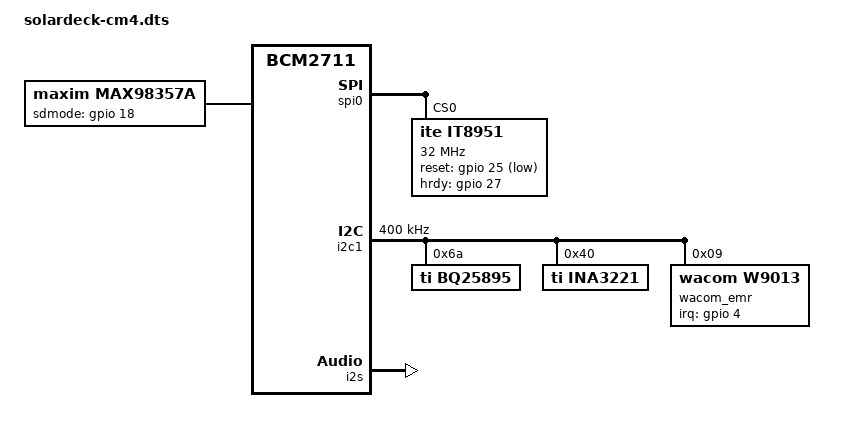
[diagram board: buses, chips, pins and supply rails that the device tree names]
// SPDX-License-Identifier: GPL-2.0-or-later OR MIT
/*
 * Device Tree Overlay for SolarDeck Carrier Board on Raspberry Pi CM4
 * Written 2026-10-19 UTC in the Pi harness by antigravity/gemini-3.8-flash
 *
 * Configures:
 *  - ITE IT8951 E-Ink EPDC on SPI0 (32 MHz, HRDY, RESET)
 *  - TI BQ25895 5A LiFePO4 PMIC on I2C1 (0x6A)
 *  - TI INA3221 3-Channel System Power Ammeter on I2C1 (0x40)
 *  - Wacom EMR Digitizer on I2C1 (0x09)
 *  - MAX98357A I2S Class-D Audio Amplifier on I2S
 *  - RP2350 GPIO Wake Interrupt (GPIO 17) & Airgap Sense (GPIO 22)
 *  - Peripheral Power Load Switches (GPIO 23, 24)
 */

/dts-v1/;
/plugin/;

/ {
    compatible = "brcm,bcm2711", "raspberrypi,4-compute-module";

    /* Fragment 0: GPIO Pin Assignments */
    fragment@0 {
        target = <&gpio>;
        __overlay__ {
            solardeck_gpios: solardeck_gpio_pins {
                brcm,pins = <17 22 23 24 27>;
                brcm,function = <0 0 1 1 0>; /* 17:in (wake), 22:in (airgap), 23:out (pwr), 24:out (rf), 27:in (it8951 hrdy) */
                brcm,pull = <2 2 0 0 2>;     /* Pull-ups on inputs */
            };
        };
    };

    /* Fragment 1: ITE IT8951 EPDC Display Controller on SPI0 */
    fragment@1 {
        target = <&spi0>;
        __overlay__ {
            status = "okay";
            #address-cells = <1>;
            #size-cells = <0>;

            it8951: it8951@0 {
                compatible = "ite,it8951";
                reg = <0>;
                spi-max-frequency = <32000000>;
                reset-gpios = <&gpio 25 1>;    /* GPIO 25: Active-low reset */
                hrdy-gpios = <&gpio 27 0>;     /* GPIO 27: Active-high ready */
                status = "okay";
            };
        };
    };

    /* Fragment 2: I2C1 Peripherals (PMIC, Fuel Gauge, Ammeter, Digitizer) */
    fragment@2 {
        target = <&i2c1>;
        __overlay__ {
            status = "okay";
            clock-frequency = <400000>;
            #address-cells = <1>;
            #size-cells = <0>;

            /* Texas Instruments BQ25895 5A Fast Charger */
            bq25895: charger@6a {
                compatible = "ti,bq25895";
                reg = <0x6a>;
                ti,battery-regulation-voltage = <3650000>; /* 3.65V strict LiFePO4 cutoff */
                ti,charge-current = <3000000>;             /* 3.0A max charge current */
                ti,termination-current = <200000>;         /* 200mA termination */
                status = "okay";
            };

            /* Texas Instruments INA3221 3-Channel Power Monitor */
            ina3221: power-monitor@40 {
                compatible = "ti,ina3221";
                reg = <0x40>;
                #address-cells = <1>;
                #size-cells = <0>;

                channel@0 {
                    reg = <0>;
                    ti,shunt-micro-ohms = <10000>; /* 10 mOhm: Compute Rail */
                    label = "Compute_Core";
                };

                channel@1 {
                    reg = <1>;
                    ti,shunt-micro-ohms = <10000>; /* 10 mOhm: Display Rail */
                    label = "Display_EPDC";
                };

                channel@2 {
                    reg = <2>;
                    ti,shunt-micro-ohms = <20000>; /* 20 mOhm: RF Radios */
                    label = "RF_Radios";
                };
            };

            /* Wacom EMR Digitizer Slate */
            wacom_emr: digitizer@09 {
                compatible = "wacom,w9013";
                reg = <0x09>;
                interrupt-parent = <&gpio>;
                interrupts = <4 2>; /* GPIO 4: Active-low falling edge */
                status = "okay";
            };
        };
    };

    /* Fragment 3: I2S Audio Interface (MAX98357A DAC & Knowles MEMS Mic) */
    fragment@3 {
        target = <&i2s>;
        __overlay__ {
            status = "okay";
        };
    };

    /* Fragment 4: Simple Sound Card Binding */
    fragment@4 {
        target-path = "/";
        __overlay__ {
            sound {
                compatible = "simple-audio-card";
                simple-audio-card,name = "SolarDeck-Audio";
                simple-audio-card,format = "i2s";
                simple-audio-card,bitclock-master = <&sound_codec>;
                simple-audio-card,frame-master = <&sound_codec>;

                simple-audio-card,cpu {
                    sound-dai = <&i2s>;
                };

                sound_codec: simple-audio-card,codec {
                    sound-dai = <&max98357a>;
                };
            };

            max98357a: max98357a-codec {
                compatible = "maxim,max98357a";
                #sound-dai-cells = <0>;
                sdmode-gpios = <&gpio 18 0>;
                status = "okay";
            };
        };
    };
};
